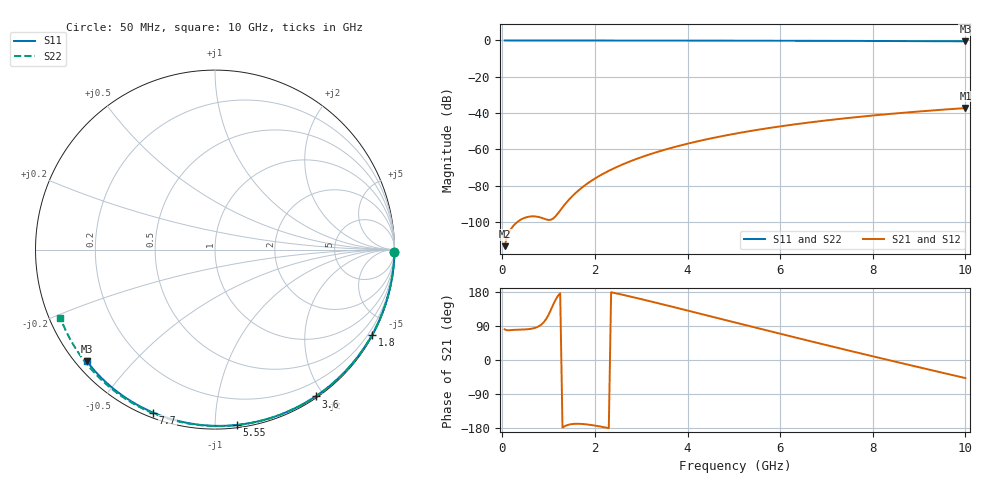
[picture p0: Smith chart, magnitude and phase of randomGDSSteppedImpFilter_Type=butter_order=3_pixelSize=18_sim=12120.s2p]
! freq	dB(S11)	phase(S11)	dB(S12)	phase(S12)
!  dB(S21)	phase(S21)	dB(S22)	phase(S22)
!S-par simulation data
#  GHz  S  DB  R 50
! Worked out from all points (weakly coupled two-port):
!   200 points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, 50 MHz to 10 GHz, reference 50 ohm
!   highest |S21| = -37.27 dB at 10 GHz (marker M1); lowest = -113.4 dB at 50 MHz (marker M2)
!   lowest |S11| = -0.5 dB at 10 GHz (marker M3), VSWR 36.83, Z = 1.55 - j18.8 ohm
!   |S11| at or under -10 dB: nowhere
!   |S22| runs from -0.5 to 0.0 dB; largest |S21 - S12| = 0
!   S11 on the Smith chart (normalised r, x): 50 MHz: open; 1.8 GHz: 0.03, -3.94; 3.6 GHz: 0.02, -1.90; 5.55 GHz: 0.02, -1.13; 7.7 GHz: 0.02, -0.69; 10 GHz: 0.03, -0.38
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0.05  -0.00 -0.8  -113.36 80.9  -113.36 80.9  -0.00 -0.9
0.45  -0.01 -7.2  -98.08 80.4  -98.08 80.4  -0.01 -8.1
0.9  -0.02 -14.4  -98.21 100.3  -98.21 100.3  -0.02 -16.2
1.3  -0.03 -20.7  -91.97 -178.3  -91.97 -178.3  -0.03 -23.3
1.75  -0.04 -27.7  -80.48 -169.0  -80.48 -169.0  -0.04 -31.2
1.8  -0.04 -28.5  -79.52 -169.6  -79.52 -169.6  -0.04 -32.1
1.95  -0.04 -30.8  -76.90 -172.0  -76.90 -172.0  -0.04 -34.7
2.1  -0.04 -33.1  -74.58 -175.1  -74.58 -175.1  -0.05 -37.3
2.3  -0.05 -36.2  -71.84 -179.9  -71.84 -179.9  -0.05 -40.7
2.5  -0.05 -39.2  -69.41 174.9  -69.41 174.9  -0.06 -44.1
2.9  -0.06 -45.3  -65.27 163.6  -65.27 163.6  -0.07 -50.9
3.4  -0.07 -52.7  -61.03 148.8  -61.03 148.8  -0.08 -59.2
3.6  -0.07 -55.6  -59.55 142.7  -59.55 142.7  -0.08 -62.4
4.3  -0.09 -65.7  -55.10 121.3  -55.10 121.3  -0.10 -73.7
5.05  -0.12 -76.2  -51.26 98.3  -51.26 98.3  -0.13 -85.3
5.55  -0.14 -83.0  -49.09 83.0  -49.09 83.0  -0.15 -92.9
6.1  -0.16 -90.3  -46.98 66.3  -46.98 66.3  -0.18 -101.0
6.7  -0.19 -98.1  -44.96 48.2  -44.96 48.2  -0.21 -109.7
7.7  -0.25 -110.7  -42.11 18.5  -42.11 18.5  -0.29 -123.9
8.35  -0.30 -118.8  -40.53 -0.5  -40.53 -0.5  -0.34 -133.0
9.2  -0.38 -129.1  -38.73 -24.9  -38.73 -24.9  -0.43 -144.9
10  -0.47 -138.8  -37.27 -47.7  -37.27 -47.7  -0.52 -156.3
